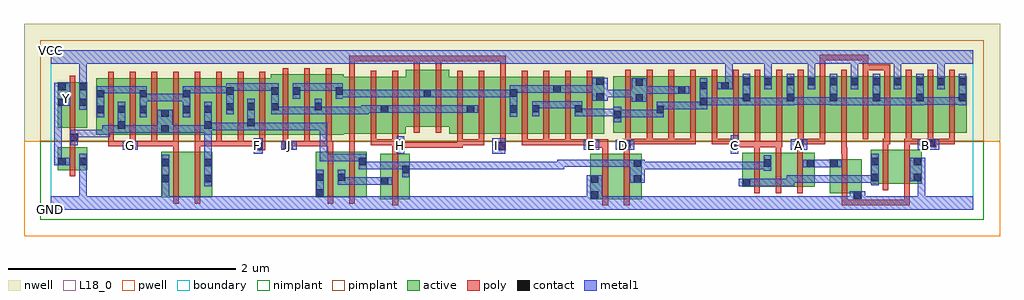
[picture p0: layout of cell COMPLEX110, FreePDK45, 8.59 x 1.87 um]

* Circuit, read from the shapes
.subckt COMPLEX110 A B C D E F G GND H I J VCC Y
M1 GND n1 Y VSUBS nfet w=0.2u l=0.05u
M2 n2 G GND VSUBS nfet w=0.4u l=0.05u
M3 n1 F n2 VSUBS nfet w=0.4u l=0.05u
M4 n3 J GND VSUBS nfet w=0.4u l=0.05u
M5 n1 I n3 VSUBS nfet w=0.4u l=0.05u
M6 n1 H n3 VSUBS nfet w=0.4u l=0.05u
M7 n4 E GND VSUBS nfet w=0.4u l=0.05u
M8 n1 D n4 VSUBS nfet w=0.4u l=0.05u
M9 n1 C n5 VSUBS nfet w=0.3u l=0.05u
M10 n6 C n1 VSUBS nfet w=0.3u l=0.05u
M11 n7 A n6 VSUBS nfet w=0.3u l=0.05u
M12 GND B n7 VSUBS nfet w=0.3u l=0.05u
M13 n8 A n5 VSUBS nfet w=0.3u l=0.05u
M14 GND B n8 VSUBS nfet w=0.3u l=0.05u
M15 VCC n1 Y n9 pfet w=0.4u l=0.05u
M16 n1 G n10 n9 pfet w=0.5u l=0.05u m=4
M17 n1 F n10 n9 pfet w=0.5u l=0.05u m=4
M18 n11 J n10 n9 pfet w=0.533u l=0.05u m=3
M19 n12 I n11 n9 pfet w=0.5u l=0.05u
M20 n10 H n12 n9 pfet w=0.5u l=0.05u
M21 n13 H n10 n9 pfet w=0.5u l=0.05u
M22 n11 I n13 n9 pfet w=0.5u l=0.05u
M23 n14 I n11 n9 pfet w=0.5u l=0.05u
M24 n10 H n14 n9 pfet w=0.5u l=0.05u
M25 n15 H n10 n9 pfet w=0.5u l=0.05u
M26 n11 I n15 n9 pfet w=0.5u l=0.05u
M27 n16 E n11 n9 pfet w=0.5u l=0.05u m=4
M28 n11 D n16 n9 pfet w=0.5u l=0.05u m=4
M29 VCC C n16 n9 pfet w=0.5u l=0.05u m=4
M30 VCC A n16 n9 pfet w=0.5u l=0.05u m=4
M31 VCC B n16 n9 pfet w=0.5u l=0.05u m=4
.ends

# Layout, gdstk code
import gdstk
lib = gdstk.Library(unit=1e-6, precision=1e-09)
def R(c, l, rs):  # rectangles x0, y0, x1, y1
    for r in rs: c.add(gdstk.rectangle(r[:2], r[2:], *l))
def A(c, l, x, y, w, h, nx, ny, dx, dy):  # array of equal rectangles
    R(c, l, [(x+i*dx, y+j*dy, x+i*dx+w, y+j*dy+h) for i in range(nx) for j in range(ny)])
active = (1, 0)
pwell = (2, 0)
nwell = (3, 0)
nimplant = (4, 0)
pimplant = (5, 0)
poly = (9, 0)
contact = (10, 0)
metal1 = (11, 0)
L18_0 = (18, 0)
boundary = (235, 0)

complex110 = lib.new_cell('COMPLEX110')
A(complex110, active, 0.587, 0.657, 0.265, 0.5, 4, 1, 0.19, 0)
A(complex110, active, 0.587, 0.657, 0.075, 0.413, 4, 1, 0.38, 0)
A(complex110, active, 5.327, 0.675, 0.265, 0.5, 5, 1, 0.19, 0)
A(complex110, active, 6.277, 0.675, 0.27, 0.5, 4, 1, 0.38, 0)
A(complex110, active, 6.472, 0.675, 0.26, 0.5, 4, 1, 0.38, 0)
R(complex110, active, [(2.902,0.092,3.162,0.492), (4.75,0.092,4.975,0.492), (4.75,0.092,4.825,0.492), (4.975,0.092,5.2,0.492), (7.062,0.092,7.137,0.442), (0.972,0.107,1.197,0.507), (1.197,0.107,1.422,0.507), (2.332,0.107,2.407,0.507), (2.332,0.107,2.597,0.507), (2.522,0.107,2.782,0.507), (6.857,0.142,7.137,0.442), (0.972,0.147,1.047,0.507), (1.347,0.147,1.422,0.507), (2.522,0.147,2.597,0.492), (2.707,0.147,2.782,0.507), (2.902,0.147,2.977,0.492), (3.087,0.147,3.162,0.492), (5.125,0.147,5.2,0.492), (6.085,0.2,6.16,0.5), (6.085,0.2,6.345,0.5), (6.27,0.2,6.5,0.5), (6.5,0.2,6.725,0.5), (7.217,0.225,7.292,0.525), (7.217,0.225,7.442,0.525), (7.442,0.225,7.667,0.525), (7.592,0.225,7.667,0.525), (6.27,0.247,6.345,0.447), (6.65,0.247,6.725,0.5), (6.857,0.247,6.932,0.442), (0.062,0.347,0.137,0.547), (0.062,0.347,0.322,0.547), (0.247,0.347,0.322,0.547), (0.402,0.657,0.477,1.157), (0.402,0.657,0.662,1.157), (1.347,0.657,1.617,1.157), (1.542,0.657,1.617,1.157), (1.542,0.657,1.802,1.157), (1.727,0.657,2.012,1.157), (1.937,0.657,2.202,1.19), (2.127,0.657,2.392,1.19), (2.317,0.657,2.577,1.19), (2.502,0.667,2.747,1.167), (2.747,0.667,2.977,1.167), (2.902,0.667,3.127,1.167), (3.507,0.667,3.732,1.167), (3.657,0.667,3.887,1.167), (3.887,0.667,4.112,1.167), (4.037,0.667,4.307,1.167), (4.232,0.667,4.492,1.167), (4.417,0.667,4.682,1.167), (4.607,0.667,4.872,1.167), (4.797,0.667,4.872,1.167), (4.952,0.675,5.217,1.175), (4.952,0.675,5.027,1.07), (5.142,0.675,5.402,1.175), (7.797,0.675,8.062,1.175), (7.987,0.675,8.062,1.175), (2.902,0.682,2.977,1.07), (3.657,0.682,3.732,1.07), (0.062,0.722,0.137,1.122), (0.062,0.722,0.322,1.122), (0.247,0.722,0.322,1.122), (3.127,0.73,3.352,1.23), (3.277,0.73,3.507,1.23), (3.277,0.762,3.352,1.157), (6.852,0.762,6.927,1.175), (7.037,0.762,7.112,1.175), (7.232,0.762,7.307,1.175), (7.417,0.762,7.492,1.175), (2.127,0.775,2.202,1.19), (2.317,0.775,2.392,1.07), (2.502,0.775,2.577,1.157), (5.897,0.782,5.972,1.175), (5.142,0.802,5.217,1.175), (0.777,0.807,0.852,1.157), (1.157,0.807,1.232,1.157), (1.937,0.807,2.012,1.157), (4.037,0.807,4.112,1.157), (4.232,0.807,4.307,1.07), (4.417,0.807,4.492,1.157), (4.607,0.807,4.682,1.07), (5.327,0.807,5.402,1.07), (5.517,0.807,5.592,1.157), (5.707,0.807,5.782,1.175), (6.087,0.807,6.162,1.175), (6.277,0.807,6.352,1.175), (6.472,0.807,6.547,1.175), (6.657,0.807,6.732,1.175), (7.612,0.807,7.687,1.175), (7.797,0.807,7.872,1.175)])
R(complex110, pwell, [(-0.235,-0.235,8.355,0.602)])
R(complex110, nwell, [(-0.235,0.602,8.355,1.635)])
R(complex110, nimplant, [(-0.09,-0.09,8.21,0.602)])
R(complex110, pimplant, [(-0.09,0.602,8.21,1.49)])
A(complex110, poly, 6.19, 0.145, 0.05, 0.41, 3, 1, 0.19, 0)
A(complex110, poly, 6.19, 0.505, 0.05, 0.095, 3, 1, 0.19, 0)
A(complex110, poly, 0.507, 0.557, 0.05, 0.095, 8, 1, 0.19, 0)
A(complex110, poly, 1.267, 0.557, 0.05, 0.05, 3, 1, 0.19, 0)
A(complex110, poly, 2.042, 0.557, 0.05, 0.095, 3, 1, 0.19, 0)
A(complex110, poly, 2.627, 0.567, 0.05, 0.095, 3, 1, 0.19, 0)
A(complex110, poly, 4.147, 0.567, 0.05, 0.095, 4, 1, 0.19, 0)
A(complex110, poly, 4.147, 0.567, 0.24, 0.05, 3, 1, 0.19, 0)
A(complex110, poly, 5.057, 0.575, 0.05, 0.095, 6, 1, 0.19, 0)
A(complex110, poly, 5.057, 0.575, 0.05, 0.05, 3, 1, 0.19, 0)
A(complex110, poly, 5.057, 0.575, 0.24, 0.05, 3, 1, 0.19, 0)
A(complex110, poly, 7.337, 0.575, 0.05, 0.095, 4, 1, 0.19, 0)
A(complex110, poly, 0.507, 0.602, 0.05, 0.61, 8, 1, 0.19, 0)
A(complex110, poly, 2.042, 0.602, 0.05, 0.643, 3, 1, 0.19, 0)
A(complex110, poly, 2.627, 0.612, 0.05, 0.61, 3, 1, 0.19, 0)
A(complex110, poly, 3.577, 0.612, 0.05, 0.61, 7, 1, 0.19, 0)
A(complex110, poly, 5.057, 0.62, 0.05, 0.61, 16, 1, 0.19, 0)
R(complex110, poly, [(3.007,0.037,3.057,0.547), (4.855,0.037,4.905,0.547), (5.045,0.037,5.095,0.547), (6.962,0.037,7.012,0.087), (6.962,0.037,7.197,0.087), (6.962,0.037,7.012,0.137), (7.147,0.037,7.197,0.087), (7.147,0.037,7.197,0.087), (7.147,0.037,7.197,0.087), (7.147,0.037,7.33,0.087), (7.28,0.037,7.33,0.087), (7.28,0.037,7.33,0.087), (7.28,0.037,7.33,0.087), (7.28,0.037,7.562,0.087), (7.512,0.037,7.562,0.087), (7.512,0.037,7.562,0.087), (7.512,0.037,7.562,0.087), (7.512,0.037,7.562,0.22), (1.077,0.052,1.127,0.562), (1.267,0.052,1.317,0.562), (2.437,0.052,2.487,0.562), (2.627,0.052,2.677,0.562), (6.962,0.087,7.012,0.497), (7.322,0.17,7.372,0.58), (7.512,0.17,7.562,0.58), (0.167,0.292,0.217,0.602), (6.962,0.447,7.012,0.542), (6.957,0.492,7.007,0.67), (6.957,0.492,7.012,0.542), (3.007,0.497,3.057,0.592), (4.855,0.497,4.905,0.592), (5.045,0.497,5.095,0.592), (1.077,0.512,1.127,0.607), (1.267,0.512,1.317,0.607), (2.437,0.512,2.487,0.607), (2.627,0.512,2.677,0.617), (1.787,0.522,1.887,0.607), (3.932,0.522,4.007,0.597), (7.322,0.53,7.372,0.625), (7.512,0.53,7.562,0.625), (0.662,0.532,0.747,0.607), (2.042,0.532,2.132,0.607), (3.007,0.542,3.115,0.617), (3.065,0.542,3.115,0.592), (3.065,0.542,3.115,0.592), (3.065,0.542,3.262,0.592), (3.212,0.542,3.262,0.592), (3.212,0.542,3.262,0.592), (3.212,0.542,3.262,0.592), (3.212,0.542,3.495,0.592), (3.445,0.542,3.495,0.592), (3.445,0.542,3.627,0.592), (3.577,0.542,3.627,0.592), (3.577,0.542,3.627,0.592), (3.577,0.542,3.627,0.617), (4.717,0.542,4.905,0.617), (5.032,0.542,5.107,0.625), (3.957,0.547,4.007,0.662), (5.982,0.55,6.057,0.625), (6.007,0.55,6.24,0.6), (6.19,0.55,6.24,0.6), (6.19,0.55,6.24,0.6), (6.19,0.55,6.247,0.6), (6.197,0.55,6.247,0.67), (6.197,0.55,6.43,0.6), (6.38,0.55,6.43,0.6), (6.38,0.55,6.43,0.6), (6.38,0.55,6.437,0.6), (6.387,0.55,6.437,0.67), (6.552,0.55,6.627,0.625), (7.717,0.55,7.792,0.625), (0.167,0.552,0.217,0.647), (0.507,0.557,0.557,0.607), (0.507,0.557,0.557,0.607), (0.507,0.557,0.557,0.607), (0.507,0.557,0.712,0.607), (0.697,0.557,0.937,0.607), (0.887,0.557,0.937,0.607), (0.887,0.557,0.937,0.607), (0.887,0.557,0.937,0.607), (0.887,0.557,1.127,0.607), (1.077,0.557,1.127,0.607), (1.077,0.557,1.127,0.607), (1.077,0.557,1.127,0.607), (1.267,0.557,1.317,0.607), (1.267,0.557,1.317,0.607), (1.267,0.557,1.507,0.607), (1.457,0.557,1.697,0.607), (1.647,0.557,1.697,0.607), (1.647,0.557,1.697,0.607), (1.647,0.557,1.837,0.607), (1.787,0.557,1.837,0.607), (1.787,0.557,1.837,0.607), (2.082,0.557,2.132,0.607), (2.082,0.557,2.132,0.607), (2.082,0.557,2.282,0.607), (2.232,0.557,2.282,0.607), (2.232,0.557,2.282,0.607), (2.232,0.557,2.282,0.607), (2.232,0.557,2.472,0.607), (2.422,0.557,2.487,0.607), (2.627,0.567,2.677,0.617), (2.817,0.567,2.867,0.617), (2.817,0.567,2.867,0.617), (2.817,0.567,2.867,0.617), (2.817,0.567,3.057,0.617), (3.577,0.567,3.627,0.662), (3.577,0.567,3.817,0.617), (3.767,0.567,3.817,0.662), (3.767,0.567,3.817,0.617), (3.767,0.567,3.817,0.617), (3.767,0.567,3.817,0.617), (4.147,0.567,4.197,0.617), (4.337,0.567,4.387,0.617), (4.337,0.567,4.387,0.617), (4.337,0.567,4.387,0.617), (4.527,0.567,4.577,0.617), (4.527,0.567,4.577,0.617), (4.527,0.567,4.577,0.617), (4.717,0.567,4.767,0.617), (4.717,0.567,4.767,0.617), (5.057,0.575,5.107,0.625), (5.437,0.575,5.487,0.625), (5.437,0.575,5.487,0.625), (5.627,0.575,5.677,0.625), (5.627,0.575,5.677,0.625), (5.627,0.575,5.677,0.625), (5.817,0.575,5.867,0.625), (5.817,0.575,6.032,0.625), (5.982,0.575,6.032,0.625), (5.982,0.575,6.032,0.625), (6.577,0.575,6.627,0.67), (6.577,0.575,6.627,0.625), (6.577,0.575,6.627,0.625), (6.577,0.575,6.817,0.625), (6.767,0.575,6.817,0.67), (6.767,0.575,6.817,0.625), (7.322,0.575,7.387,0.625), (7.512,0.575,7.577,0.625), (7.527,0.575,7.767,0.625), (7.717,0.575,7.767,0.625), (7.717,0.575,7.767,0.625), (7.742,0.575,7.957,0.625), (7.907,0.575,7.957,0.625), (7.907,0.575,7.957,0.625), (7.907,0.575,7.957,0.625), (0.167,0.597,0.242,0.672), (0.167,0.622,0.217,0.717), (0.167,0.667,0.217,1.177), (3.197,0.675,3.247,1.285), (3.387,0.675,3.437,1.285), (2.627,1.172,2.677,1.355), (3.957,1.172,4.007,1.355), (6.767,1.18,6.817,1.362), (7.147,1.18,7.197,1.275), (7.337,1.18,7.387,1.275), (7.147,1.225,7.387,1.275), (7.147,1.225,7.197,1.362), (7.337,1.225,7.387,1.275), (7.337,1.225,7.387,1.275), (7.337,1.225,7.387,1.275), (3.197,1.235,3.247,1.355), (3.387,1.235,3.437,1.355), (2.627,1.305,2.677,1.355), (2.627,1.305,2.677,1.355), (2.627,1.305,2.677,1.355), (2.627,1.305,2.925,1.355), (2.875,1.305,2.925,1.355), (2.875,1.305,2.925,1.355), (2.875,1.305,2.925,1.355), (2.875,1.305,3.115,1.355), (3.065,1.305,3.115,1.355), (3.065,1.305,3.115,1.355), (3.065,1.305,3.115,1.355), (3.065,1.305,3.247,1.355), (3.197,1.305,3.247,1.355), (3.197,1.305,3.247,1.355), (3.197,1.305,3.247,1.355), (3.197,1.305,3.437,1.355), (3.387,1.305,3.437,1.355), (3.387,1.305,3.437,1.355), (3.387,1.305,3.437,1.355), (3.387,1.305,3.685,1.355), (3.635,1.305,3.685,1.355), (3.635,1.305,3.85,1.355), (3.8,1.305,3.85,1.355), (3.8,1.305,3.85,1.355), (3.8,1.305,3.85,1.355), (3.8,1.305,4.007,1.355), (3.957,1.305,4.007,1.355), (3.957,1.305,4.007,1.355), (3.957,1.305,4.007,1.355), (6.767,1.312,6.817,1.362), (6.767,1.312,6.817,1.362), (6.767,1.312,6.817,1.362), (6.767,1.312,7.065,1.362), (7.015,1.312,7.065,1.362), (7.015,1.312,7.065,1.362), (7.015,1.312,7.065,1.362), (7.015,1.312,7.197,1.362)])
A(complex110, contact, 6.477, 0.955, 0.065, 0.065, 4, 1, 0.38, 0)
R(complex110, contact, [(4.755,0.097,4.82,0.162), (7.067,0.097,7.132,0.162), (2.337,0.112,2.402,0.177), (6.09,0.205,6.155,0.27), (2.907,0.217,2.972,0.282), (5.13,0.235,5.195,0.3), (4.755,0.237,4.82,0.302), (0.977,0.24,1.042,0.305), (1.352,0.24,1.417,0.305), (7.222,0.25,7.287,0.315), (7.597,0.25,7.662,0.315), (2.337,0.252,2.402,0.317), (2.527,0.252,2.592,0.317), (3.092,0.32,3.157,0.385), (6.655,0.372,6.72,0.437), (6.862,0.372,6.927,0.437), (5.13,0.375,5.195,0.44), (6.275,0.377,6.34,0.442), (0.977,0.38,1.042,0.445), (1.352,0.38,1.417,0.445), (0.067,0.39,0.132,0.455), (0.252,0.39,0.317,0.455), (2.712,0.39,2.777,0.455), (7.222,0.39,7.287,0.455), (7.597,0.39,7.662,0.455), (1.792,0.527,1.857,0.592), (3.937,0.527,4.002,0.592), (0.667,0.537,0.732,0.602), (2.062,0.537,2.127,0.602), (3.045,0.547,3.11,0.612), (4.727,0.547,4.792,0.612), (5.037,0.547,5.102,0.612), (5.987,0.555,6.052,0.62), (6.557,0.555,6.622,0.62), (7.722,0.555,7.787,0.62), (0.172,0.602,0.237,0.667), (0.972,0.675,1.037,0.74), (0.592,0.71,0.657,0.775), (1.352,0.71,1.417,0.775), (1.732,0.735,1.797,0.8), (4.957,0.805,5.022,0.87), (0.972,0.815,1.037,0.88), (0.407,0.847,0.472,0.912), (0.782,0.847,0.847,0.912), (1.162,0.847,1.227,0.912), (5.332,0.847,5.397,0.912), (0.592,0.85,0.657,0.915), (1.352,0.85,1.417,0.915), (2.907,0.852,2.972,0.917), (3.662,0.852,3.727,0.917), (4.042,0.852,4.107,0.917), (4.237,0.855,4.302,0.92), (4.612,0.855,4.677,0.92), (1.547,0.872,1.612,0.937), (1.942,0.872,2.007,0.937), (1.732,0.875,1.797,0.94), (2.322,0.875,2.387,0.94), (0.067,0.912,0.132,0.977), (0.252,0.912,0.317,0.977), (5.712,0.917,5.777,0.982), (5.147,0.95,5.212,1.015), (6.092,0.955,6.157,1.02), (7.992,0.955,8.057,1.02), (4.802,0.957,4.867,1.022), (0.407,0.987,0.472,1.052), (0.782,0.987,0.847,1.052), (1.162,0.987,1.227,1.052), (3.282,0.99,3.347,1.055), (4.042,0.992,4.107,1.057), (1.547,1.012,1.612,1.077), (1.942,1.012,2.007,1.077), (2.132,1.012,2.197,1.077), (2.507,1.012,2.572,1.077), (5.522,1.02,5.587,1.085), (4.422,1.027,4.487,1.092), (0.067,1.052,0.132,1.117), (0.252,1.052,0.317,1.117), (5.712,1.057,5.777,1.122), (5.902,1.057,5.967,1.122), (5.147,1.09,5.212,1.155), (6.092,1.095,6.157,1.16), (6.282,1.095,6.347,1.16), (6.477,1.095,6.542,1.16), (6.662,1.095,6.727,1.16), (6.857,1.095,6.922,1.16), (7.042,1.095,7.107,1.16), (7.237,1.095,7.302,1.16), (7.422,1.095,7.487,1.16), (7.617,1.095,7.682,1.16), (7.802,1.095,7.867,1.16), (7.992,1.095,8.057,1.16), (4.802,1.097,4.867,1.162)])
A(complex110, metal1, 6.477, 0.92, 0.065, 0.275, 4, 1, 0.38, 0)
A(complex110, metal1, 6.282, 1.06, 0.065, 0.135, 5, 1, 0.38, 0)
A(complex110, metal1, 6.282, 1.13, 0.065, 0.22, 5, 1, 0.38, 0)
R(complex110, metal1, [(0,0,8.12,0.115), (0.252,0.05,0.317,0.42), (0.977,0.05,1.042,0.27), (2.337,0.05,2.402,0.142), (4.79,0.05,4.855,0.162), (7.032,0.05,7.097,0.162), (7.632,0.05,7.697,0.315), (2.337,0.077,2.402,0.352), (4.72,0.097,4.855,0.302), (7.032,0.097,7.097,0.162), (7.032,0.097,7.097,0.162), (7.032,0.097,7.167,0.162), (0.977,0.205,1.042,0.48), (1.352,0.205,1.417,0.48), (6.055,0.205,6.19,0.27), (6.125,0.205,6.19,0.27), (6.125,0.205,6.19,0.27), (6.125,0.205,6.405,0.27), (6.34,0.205,6.542,0.27), (6.34,0.205,6.405,0.27), (6.34,0.205,6.405,0.27), (6.34,0.205,6.405,0.27), (6.477,0.205,6.542,0.27), (6.477,0.205,6.542,0.3), (7.222,0.215,7.287,0.49), (2.527,0.217,2.592,0.352), (2.527,0.217,2.8,0.282), (2.735,0.217,2.937,0.282), (2.735,0.217,2.8,0.282), (2.735,0.217,2.8,0.282), (2.735,0.217,2.8,0.282), (2.872,0.217,2.937,0.282), (2.872,0.217,2.937,0.282), (2.872,0.217,3.007,0.282), (5.095,0.235,5.23,0.44), (6.477,0.235,6.542,0.3), (6.477,0.235,6.542,0.3), (6.477,0.235,6.542,0.3), (6.477,0.235,6.755,0.3), (6.69,0.235,6.892,0.3), (6.69,0.235,6.755,0.3), (6.69,0.235,6.755,0.3), (6.69,0.235,6.755,0.3), (6.827,0.235,6.892,0.3), (6.827,0.235,6.892,0.3), (6.827,0.235,6.892,0.3), (6.827,0.235,7.15,0.3), (7.085,0.235,7.287,0.3), (7.085,0.235,7.15,0.3), (7.085,0.235,7.15,0.3), (7.085,0.235,7.15,0.3), (7.562,0.25,7.697,0.455), (7.632,0.25,7.697,0.315), (7.632,0.25,7.697,0.315), (3.092,0.285,3.157,0.42), (6.275,0.342,6.34,0.477), (0.252,0.355,0.317,0.42), (0.252,0.355,0.317,0.42), (0.252,0.355,0.317,0.42), (0.252,0.355,0.317,0.42), (0.252,0.355,0.317,0.49), (2.712,0.355,2.777,0.49), (2.712,0.355,2.972,0.42), (2.907,0.355,2.972,0.42), (2.907,0.355,2.972,0.42), (2.907,0.355,2.972,0.42), (2.907,0.355,3.157,0.42), (3.092,0.355,3.157,0.42), (3.092,0.355,3.157,0.42), (3.092,0.355,3.295,0.42), (3.23,0.355,3.295,0.42), (3.23,0.355,3.295,0.42), (3.23,0.355,3.295,0.42), (3.23,0.355,3.52,0.42), (3.455,0.355,3.52,0.42), (3.455,0.355,3.52,0.42), (3.455,0.355,3.52,0.42), (3.455,0.355,3.677,0.42), (3.612,0.355,3.677,0.42), (3.612,0.355,3.677,0.42), (3.612,0.355,3.677,0.42), (3.612,0.355,3.815,0.42), (3.75,0.355,3.815,0.42), (3.75,0.355,3.815,0.42), (3.75,0.355,3.815,0.42), (3.75,0.355,4.107,0.42), (4.042,0.355,4.107,0.42), (4.042,0.355,4.107,0.42), (4.042,0.355,4.107,0.42), (4.042,0.355,4.245,0.42), (4.18,0.355,4.382,0.42), (4.18,0.355,4.245,0.42), (4.18,0.355,4.245,0.42), (4.18,0.355,4.245,0.42), (4.317,0.355,4.382,0.42), (4.317,0.355,4.522,0.42), (4.457,0.355,4.522,0.42), (4.457,0.355,4.522,0.42), (4.457,0.355,4.522,0.44), (5.165,0.355,5.23,0.42), (5.165,0.355,5.23,0.42), (5.165,0.355,5.415,0.42), (5.35,0.355,5.415,0.42), (5.35,0.355,5.415,0.42), (5.35,0.355,5.415,0.42), (5.35,0.355,5.415,0.42), (5.35,0.355,5.415,0.42), (5.35,0.355,5.64,0.42), (5.575,0.355,5.777,0.42), (5.575,0.355,5.64,0.42), (5.575,0.355,5.64,0.42), (5.575,0.355,5.64,0.42), (5.712,0.355,5.777,0.42), (5.712,0.355,5.777,0.42), (5.712,0.355,5.777,0.42), (5.712,0.355,5.915,0.42), (5.85,0.355,5.915,0.42), (5.85,0.355,5.915,0.42), (5.85,0.355,5.915,0.42), (5.85,0.355,6.19,0.42), (6.125,0.355,6.19,0.42), (6.125,0.355,6.19,0.42), (6.125,0.355,6.19,0.42), (6.125,0.355,6.34,0.42), (6.62,0.372,6.755,0.437), (6.69,0.372,6.892,0.437), (6.69,0.372,6.755,0.437), (6.69,0.372,6.755,0.437), (6.827,0.372,6.962,0.437), (4.457,0.375,4.66,0.44), (4.595,0.375,4.66,0.44), (4.595,0.375,4.66,0.44), (4.595,0.375,4.66,0.44), (4.595,0.375,4.815,0.44), (4.75,0.375,4.815,0.44), (4.75,0.375,4.815,0.44), (4.75,0.375,4.815,0.44), (4.75,0.375,5.04,0.44), (4.975,0.375,5.04,0.44), (4.975,0.375,5.16,0.44), (0.032,0.39,0.097,0.455), (0.032,0.39,0.097,0.455), (0.032,0.39,0.097,0.455), (0.032,0.39,0.097,0.455), (0.032,0.39,0.097,0.455), (0.032,0.39,0.097,0.455), (0.032,0.39,0.097,0.455), (0.032,0.39,0.097,0.455), (0.032,0.39,0.167,0.455), (0.032,0.39,0.097,0.977), (1.352,0.415,1.417,0.48), (1.352,0.415,1.417,0.48), (1.352,0.415,1.417,0.74), (2.37,0.425,2.435,0.49), (2.37,0.425,2.435,0.49), (2.37,0.425,2.435,0.49), (2.37,0.425,2.64,0.49), (2.37,0.425,2.435,0.765), (2.575,0.425,2.777,0.49), (2.575,0.425,2.64,0.49), (2.575,0.425,2.64,0.49), (2.575,0.425,2.64,0.49), (2.712,0.425,2.777,0.49), (2.712,0.425,2.777,0.49), (1.787,0.492,1.867,0.627), (3.045,0.492,3.112,0.647), (3.887,0.492,4.002,0.627), (5.987,0.492,6.052,0.655), (0.632,0.525,0.767,0.602), (2.027,0.527,2.167,0.602), (4.692,0.527,4.827,0.612), (4.972,0.527,5.137,0.612), (6.512,0.527,6.657,0.62), (7.632,0.527,7.822,0.62), (0.172,0.567,0.237,0.702), (0.172,0.637,0.237,0.702), (0.172,0.637,0.237,0.702), (0.172,0.637,0.237,0.702), (0.172,0.637,0.237,0.702), (0.172,0.637,0.52,0.702), (0.455,0.637,0.52,0.702), (0.455,0.637,0.52,0.702), (0.455,0.637,0.52,0.74), (0.455,0.675,0.657,0.74), (0.592,0.675,0.657,0.95), (0.592,0.675,0.657,0.74), (0.592,0.675,0.657,0.74), (0.592,0.675,0.865,0.74), (0.8,0.675,1.002,0.74), (0.8,0.675,0.865,0.74), (0.8,0.675,0.865,0.74), (0.8,0.675,0.865,0.74), (0.937,0.675,1.072,0.88), (1.007,0.675,1.072,0.74), (1.007,0.675,1.072,0.74), (1.007,0.675,1.28,0.74), (1.215,0.675,1.417,0.74), (1.215,0.675,1.28,0.74), (1.215,0.675,1.28,0.74), (1.215,0.675,1.28,0.74), (1.352,0.675,1.417,0.95), (1.352,0.7,1.417,0.765), (1.352,0.7,1.417,0.765), (1.352,0.7,1.66,0.765), (1.595,0.7,1.797,0.765), (1.595,0.7,1.66,0.765), (1.595,0.7,1.66,0.765), (1.595,0.7,1.66,0.765), (1.732,0.7,1.797,0.975), (1.732,0.7,1.797,0.765), (1.732,0.7,1.797,0.765), (1.732,0.7,2.06,0.765), (1.995,0.7,2.06,0.765), (1.995,0.7,2.06,0.765), (1.995,0.7,2.06,0.765), (1.995,0.7,2.25,0.765), (2.185,0.7,2.25,0.765), (2.185,0.7,2.25,0.765), (2.185,0.7,2.25,0.765), (2.185,0.7,2.435,0.765), (2.37,0.7,2.435,0.765), (4.957,0.77,5.022,0.905), (0.407,0.812,0.472,1.087), (0.782,0.812,0.847,1.087), (1.162,0.812,1.227,1.087), (4.957,0.812,5.092,0.877), (5.027,0.812,5.092,0.877), (5.027,0.812,5.23,0.877), (5.165,0.812,5.23,0.877), (5.165,0.812,5.23,0.877), (5.165,0.812,5.23,0.877), (5.165,0.812,5.397,0.877), (5.332,0.812,5.397,0.947), (4.042,0.817,4.107,1.092), (4.237,0.82,4.302,0.955), (4.612,0.82,4.677,0.885), (4.612,0.82,4.677,0.885), (4.612,0.82,4.677,0.955), (4.612,0.82,4.815,0.885), (4.75,0.82,4.815,0.885), (4.75,0.82,5.022,0.885), (1.547,0.837,1.612,1.112), (1.942,0.837,2.007,1.112), (1.942,0.84,2.007,0.905), (1.942,0.84,2.007,0.905), (1.942,0.84,2.25,0.905), (2.185,0.84,2.387,0.905), (2.185,0.84,2.25,0.905), (2.185,0.84,2.25,0.905), (2.185,0.84,2.25,0.905), (2.322,0.84,2.387,0.975), (2.322,0.84,2.64,0.905), (2.575,0.84,2.64,0.905), (2.575,0.84,2.64,0.905), (2.575,0.84,2.64,0.905), (2.575,0.84,2.8,0.905), (2.735,0.84,2.8,0.905), (2.735,0.84,2.8,0.905), (2.735,0.84,2.8,0.917), (2.735,0.852,2.937,0.917), (2.872,0.852,2.937,0.917), (2.872,0.852,2.937,0.917), (2.872,0.852,3.007,0.917), (2.942,0.852,3.157,0.917), (3.092,0.852,3.157,0.917), (3.092,0.852,3.157,0.917), (3.092,0.852,3.157,0.917), (3.092,0.852,3.295,0.917), (3.23,0.852,3.295,0.917), (3.23,0.852,3.295,0.917), (3.23,0.852,3.295,0.917), (3.23,0.852,3.52,0.917), (3.455,0.852,3.52,0.917), (3.455,0.852,3.52,0.917), (3.455,0.852,3.52,0.917), (3.455,0.852,3.677,0.917), (3.612,0.852,3.677,0.917), (3.612,0.852,3.692,0.917), (3.627,0.852,3.762,0.917), (0.252,0.877,0.317,1.152), (5.332,0.882,5.397,0.947), (5.332,0.882,5.397,0.947), (5.332,0.882,5.64,0.947), (5.575,0.882,5.777,0.947), (5.575,0.882,5.64,0.947), (5.575,0.882,5.64,0.947), (5.575,0.882,5.64,0.947), (5.712,0.882,5.777,1.157), (4.237,0.89,4.385,0.955), (4.32,0.89,4.522,0.955), (4.32,0.89,4.385,0.955), (4.457,0.89,4.522,0.955), (4.457,0.89,4.522,0.955), (4.457,0.89,4.522,0.955), (4.457,0.89,4.677,0.955), (0.032,0.912,0.172,1.117), (5.712,0.92,5.777,0.985), (5.712,0.92,5.777,0.985), (5.712,0.92,5.982,0.985), (5.917,0.92,5.982,0.985), (5.917,0.92,5.982,0.985), (5.917,0.92,5.982,0.985), (5.917,0.92,6.157,0.985), (6.092,0.92,6.157,1.195), (6.092,0.92,6.157,0.985), (6.092,0.92,6.157,0.985), (6.092,0.92,6.327,0.985), (6.262,0.92,6.327,0.985), (6.262,0.92,6.327,0.985), (6.262,0.92,6.327,0.985), (6.262,0.92,6.542,0.985), (6.857,0.92,6.922,0.985), (6.857,0.92,6.922,0.985), (6.857,0.92,7.15,0.985), (7.085,0.92,7.15,0.985), (7.085,0.92,7.15,0.985), (7.085,0.92,7.15,0.985), (7.085,0.92,7.302,0.985), (7.237,0.92,7.305,0.985), (7.24,0.92,7.305,0.985), (7.24,0.92,7.49,0.985), (7.425,0.92,7.49,0.985), (7.425,0.92,7.49,0.985), (7.425,0.92,7.49,0.985), (7.425,0.92,7.682,0.985), (7.992,0.92,8.057,1.195), (6.477,0.922,6.542,0.987), (6.477,0.922,6.542,0.987), (6.477,0.922,6.755,0.987), (6.69,0.922,6.755,0.987), (6.69,0.922,6.755,0.987), (6.69,0.922,6.755,0.987), (6.69,0.922,6.922,0.987), (7.617,0.922,7.682,0.987), (7.617,0.922,7.682,0.987), (7.617,0.922,7.92,0.987), (7.855,0.922,8.057,0.987), (7.855,0.922,7.92,0.987), (7.855,0.922,7.92,0.987), (7.855,0.922,7.92,0.987), (5.112,0.95,5.247,1.155), (0.782,0.952,0.847,1.017), (0.782,0.952,0.847,1.017), (0.782,0.952,1.09,1.017), (1.025,0.952,1.227,1.017), (1.025,0.952,1.09,1.017), (1.025,0.952,1.09,1.017), (1.025,0.952,1.09,1.017), (4.767,0.957,4.902,1.162), (2.132,0.977,2.197,1.112), (2.507,0.977,2.572,1.112), (2.507,0.99,2.777,1.055), (2.712,0.99,2.777,1.055), (2.712,0.99,2.777,1.055), (2.712,0.99,2.777,1.055), (2.712,0.99,2.937,1.055), (2.872,0.99,2.937,1.055), (2.872,0.99,2.937,1.055), (2.872,0.99,2.937,1.055), (2.872,0.99,3.145,1.055), (3.08,0.99,3.145,1.055), (3.08,0.99,3.145,1.055), (3.08,0.99,3.145,1.055), (3.08,0.99,3.312,1.055), (3.247,0.99,3.312,1.055), (3.247,0.99,3.312,1.055), (3.247,0.99,3.382,1.055), (3.317,0.99,3.52,1.055), (3.455,0.99,3.657,1.055), (3.455,0.99,3.52,1.055), (3.455,0.99,3.52,1.055), (3.455,0.99,3.52,1.055), (3.592,0.99,3.657,1.055), (3.592,0.99,3.657,1.055), (3.592,0.99,3.657,1.055), (3.592,0.99,3.815,1.055), (3.75,0.99,3.815,1.055), (3.75,0.99,3.815,1.055), (3.75,0.99,3.815,1.055), (3.75,0.99,4.107,1.055), (4.042,0.99,4.107,1.055), (4.042,0.99,4.107,1.055), (4.837,0.99,4.902,1.055), (4.837,0.99,4.902,1.055), (4.837,0.99,5.092,1.055), (5.027,0.99,5.092,1.055), (5.027,0.99,5.177,1.055), (5.182,1.02,5.247,1.085), (5.182,1.02,5.247,1.085), (5.182,1.02,5.415,1.085), (5.35,1.02,5.552,1.085), (5.35,1.02,5.415,1.085), (5.35,1.02,5.415,1.085), (5.35,1.02,5.415,1.085), (5.487,1.02,5.622,1.085), (0.407,1.022,0.472,1.087), (0.407,1.022,0.472,1.087), (0.407,1.022,0.71,1.087), (0.645,1.022,0.847,1.087), (0.645,1.022,0.71,1.087), (0.645,1.022,0.71,1.087), (0.645,1.022,0.71,1.087), (1.162,1.022,1.227,1.087), (1.162,1.022,1.227,1.087), (1.162,1.022,1.475,1.087), (1.41,1.022,1.612,1.087), (1.41,1.022,1.475,1.087), (1.41,1.022,1.475,1.087), (1.41,1.022,1.475,1.087), (4.042,1.027,4.245,1.092), (4.18,1.027,4.382,1.092), (4.18,1.027,4.245,1.092), (4.18,1.027,4.245,1.092), (4.18,1.027,4.245,1.092), (4.317,1.027,4.382,1.092), (4.317,1.027,4.452,1.092), (4.387,1.027,4.522,1.092), (4.457,1.027,4.522,1.092), (4.457,1.027,4.522,1.092), (4.457,1.027,4.522,1.092), (4.457,1.027,4.522,1.092), (4.457,1.027,4.66,1.092), (4.595,1.027,4.66,1.092), (4.595,1.027,4.66,1.092), (4.595,1.027,4.66,1.092), (4.595,1.027,4.832,1.092), (1.547,1.047,1.612,1.112), (1.547,1.047,1.612,1.112), (1.547,1.047,1.87,1.112), (1.805,1.047,2.007,1.112), (1.805,1.047,1.87,1.112), (1.805,1.047,1.87,1.112), (1.805,1.047,1.87,1.112), (2.132,1.047,2.197,1.112), (2.132,1.047,2.197,1.112), (2.132,1.047,2.435,1.112), (2.37,1.047,2.572,1.112), (2.37,1.047,2.435,1.112), (2.507,1.047,2.572,1.112), (2.507,1.047,2.572,1.112), (5.867,1.057,6.002,1.122), (5.937,1.057,6.002,1.122), (5.937,1.057,6.002,1.122), (5.937,1.057,6.002,1.35), (0.252,1.087,0.317,1.152), (0.252,1.087,0.317,1.152), (0.252,1.087,0.317,1.35), (6.662,1.13,6.727,1.195), (6.662,1.13,6.727,1.195), (7.042,1.13,7.107,1.195), (7.042,1.13,7.107,1.195), (7.422,1.13,7.487,1.195), (7.422,1.13,7.487,1.195), (0,1.285,8.12,1.4), (6.282,1.285,6.347,1.35), (6.282,1.285,6.347,1.35), (7.802,1.285,7.867,1.35), (7.802,1.285,7.867,1.35)])
A(complex110, L18_0, 3.047, 0.527, 0.065, 0.065, 3, 1, 0.84, 0)
A(complex110, L18_0, 6.282, 1.06, 0.065, 0.135, 5, 1, 0.38, 0)
A(complex110, L18_0, 6.282, 1.13, 0.065, 0.22, 5, 1, 0.38, 0)
R(complex110, L18_0, [(0,0,8.12,0.115), (0.252,0.05,0.317,0.42), (0.977,0.05,1.042,0.27), (2.337,0.05,2.402,0.142), (4.79,0.05,4.855,0.162), (7.032,0.05,7.097,0.162), (7.632,0.05,7.697,0.315), (2.337,0.077,2.402,0.352), (4.72,0.097,4.855,0.302), (7.032,0.097,7.167,0.162), (7.032,0.097,7.097,0.162), (7.032,0.097,7.097,0.162), (0.977,0.205,1.042,0.48), (7.562,0.25,7.697,0.455), (7.632,0.25,7.697,0.315), (7.632,0.25,7.697,0.315), (0.252,0.355,0.317,0.42), (0.252,0.355,0.317,0.42), (0.252,0.355,0.317,0.42), (0.252,0.355,0.317,0.42), (0.252,0.355,0.317,0.49), (0.032,0.39,0.167,0.455), (0.032,0.39,0.097,0.455), (0.032,0.39,0.097,0.455), (0.032,0.39,0.097,0.455), (0.032,0.39,0.097,0.455), (0.032,0.39,0.097,0.455), (0.032,0.39,0.097,0.455), (0.032,0.39,0.097,0.455), (0.032,0.39,0.097,0.455), (0.032,0.39,0.097,0.977), (1.787,0.492,1.867,0.627), (3.045,0.492,3.112,0.647), (3.887,0.492,4.002,0.627), (5.987,0.492,6.052,0.655), (0.632,0.525,0.767,0.602), (0.667,0.527,0.732,0.592), (1.787,0.527,1.852,0.592), (2.027,0.527,2.167,0.602), (2.067,0.527,2.132,0.592), (4.692,0.527,4.827,0.612), (4.972,0.527,5.137,0.612), (5.007,0.527,5.072,0.592), (5.987,0.527,6.052,0.592), (6.512,0.527,6.657,0.62), (6.547,0.527,6.612,0.592), (7.632,0.527,7.822,0.62), (7.667,0.527,7.732,0.592), (0.252,0.877,0.317,1.152), (0.032,0.912,0.172,1.117), (0.107,0.947,0.172,1.012), (5.867,1.057,6.002,1.122), (5.937,1.057,6.002,1.122), (5.937,1.057,6.002,1.122), (5.937,1.057,6.002,1.35), (0.252,1.087,0.317,1.152), (0.252,1.087,0.317,1.152), (0.252,1.087,0.317,1.35), (6.662,1.13,6.727,1.195), (6.662,1.13,6.727,1.195), (7.042,1.13,7.107,1.195), (7.042,1.13,7.107,1.195), (7.422,1.13,7.487,1.195), (7.422,1.13,7.487,1.195), (0,1.285,8.12,1.4), (6.282,1.285,6.347,1.35), (6.282,1.285,6.347,1.35), (7.802,1.285,7.867,1.35), (7.802,1.285,7.867,1.35)])
R(complex110, boundary, [(0,0,8.12,1.4)])
complex110.add(gdstk.Label('A', (6.58,0.56), layer=11, texttype=0))
complex110.add(gdstk.Label('B', (7.7,0.56), layer=11, texttype=0))
complex110.add(gdstk.Label('C', (6.02,0.56), layer=11, texttype=0))
complex110.add(gdstk.Label('D', (5.04,0.56), layer=11, texttype=0))
complex110.add(gdstk.Label('E', (4.76,0.56), layer=11, texttype=0))
complex110.add(gdstk.Label('F', (1.82,0.56), layer=11, texttype=0))
complex110.add(gdstk.Label('G', (0.7,0.56), layer=11, texttype=0))
complex110.add(gdstk.Label('H', (3.08,0.56), layer=11, texttype=0))
complex110.add(gdstk.Label('I', (3.92,0.56), layer=11, texttype=0))
complex110.add(gdstk.Label('J', (2.1,0.56), layer=11, texttype=0))
complex110.add(gdstk.Label('Y', (0.14,0.98), layer=11, texttype=0))
complex110.add(gdstk.Label('VCC', (0,1.4), layer=11, texttype=0))
complex110.add(gdstk.Label('GND', (0,0), layer=11, texttype=0))

lib.write_gds('COMPLEX110.gds')
